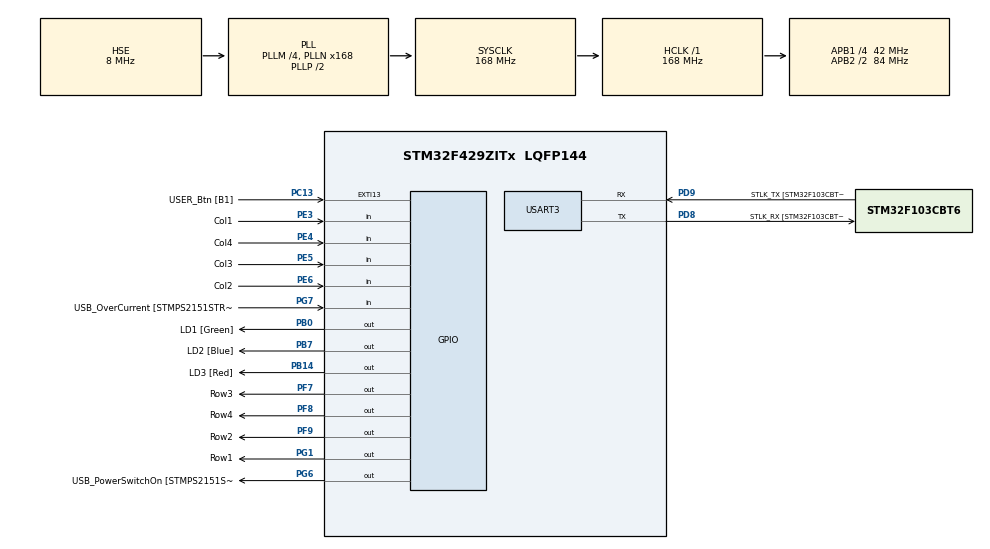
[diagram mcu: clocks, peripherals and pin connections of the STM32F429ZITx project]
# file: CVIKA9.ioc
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Mcu.Family=STM32F4
Mcu.Name=STM32F429ZITx
Mcu.Package=LQFP144
NVIC.PriorityGroup=NVIC_PRIORITYGROUP_4
NVIC.TIM3_IRQn=true\:0\:0\:false\:false\:true\:true\:true\:true
PA1.GPIO_Label=RMII_REF_CLK [LAN8742A-CZ-TR_REFCLK0]
PA1.Signal=ETH_REF_CLK
PA10.GPIO_Label=USB_ID
PA10.Signal=USB_OTG_FS_ID
PA11.GPIO_Label=USB_DM
PA11.Signal=USB_OTG_FS_DM
PA12.GPIO_Label=USB_DP
PA12.Signal=USB_OTG_FS_DP
PA13.GPIO_Label=TMS
PA13.Mode=Serial_Wire
PA13.Signal=SYS_JTMS-SWDIO
PA14.GPIO_Label=TCK
PA14.Mode=Serial_Wire
PA14.Signal=SYS_JTCK-SWCLK
PA2.GPIO_Label=RMII_MDIO [LAN8742A-CZ-TR_MDIO]
PA2.Signal=ETH_MDIO
PA7.GPIO_Label=RMII_CRS_DV [LAN8742A-CZ-TR_CRS_DV]
PA7.Signal=ETH_CRS_DV
PA8.GPIO_Label=USB_SOF [TP1]
PA8.Signal=USB_OTG_FS_SOF
PA9.GPIO_Label=USB_VBUS
PA9.Signal=USB_OTG_FS_VBUS
PB0.GPIO_Label=LD1 [Green]
PB0.Signal=GPIO_Output
PB13.GPIO_Label=RMII_TXD1 [LAN8742A-CZ-TR_TXD1]
PB13.Signal=ETH_TXD1
PB14.GPIO_Label=LD3 [Red]
PB14.Signal=GPIO_Output
PB7.GPIO_Label=LD2 [Blue]
PB7.Signal=GPIO_Output
PC1.GPIO_Label=RMII_MDC [LAN8742A-CZ-TR_MDC]
PC1.Signal=ETH_MDC
PC13.GPIO_Label=USER_Btn [B1]
PC13.Signal=GPXTI13
PC14/OSC32_IN.Mode=LSE-External-Oscillator
PC14/OSC32_IN.Signal=RCC_OSC32_IN
PC15/OSC32_OUT.Mode=LSE-External-Oscillator
PC15/OSC32_OUT.Signal=RCC_OSC32_OUT
PC4.GPIO_Label=RMII_RXD0 [LAN8742A-CZ-TR_RXD0]
PC4.Signal=ETH_RXD0
PC5.GPIO_Label=RMII_RXD1 [LAN8742A-CZ-TR_RXD1]
PC5.Signal=ETH_RXD1
PD8.GPIO_Label=STLK_RX [STM32F103CBT6_PA3]
PD8.Mode=Asynchronous
PD8.Signal=USART3_TX
PD9.GPIO_Label=STLK_TX [STM32F103CBT6_PA2]
PD9.Mode=Asynchronous
PD9.Signal=USART3_RX
PE3.GPIO_Label=Col1
PE3.GPIO_PuPd=GPIO_PULLUP
PE3.Signal=GPIO_Input
PE4.GPIO_Label=Col4
PE4.GPIO_PuPd=GPIO_PULLUP
PE4.Signal=GPIO_Input
PE5.GPIO_Label=Col3
PE5.GPIO_PuPd=GPIO_PULLUP
PE5.Signal=GPIO_Input
PE6.GPIO_Label=Col2
PE6.GPIO_PuPd=GPIO_PULLUP
PE6.Signal=GPIO_Input
PF7.GPIO_Label=Row3
PF7.GPIO_ModeDefaultOutputPP=GPIO_MODE_OUTPUT_OD
PF7.GPIO_PuPd=GPIO_NOPULL
PF7.Signal=GPIO_Output
PF8.GPIO_Label=Row4
PF8.GPIO_ModeDefaultOutputPP=GPIO_MODE_OUTPUT_OD
PF8.GPIO_PuPd=GPIO_NOPULL
PF8.Signal=GPIO_Output
PF9.GPIO_Label=Row2
PF9.GPIO_ModeDefaultOutputPP=GPIO_MODE_OUTPUT_OD
PF9.GPIO_PuPd=GPIO_NOPULL
PF9.Signal=GPIO_Output
PG1.GPIO_Label=Row1
PG1.GPIO_ModeDefaultOutputPP=GPIO_MODE_OUTPUT_OD
PG1.GPIO_PuPd=GPIO_NOPULL
PG1.Signal=GPIO_Output
PG11.GPIO_Label=RMII_TX_EN [LAN8742A-CZ-TR_TXEN]
PG11.Signal=ETH_TX_EN
PG13.GPIO_Label=RMII_TXD0 [LAN8742A-CZ-TR_TXD0]
PG13.Signal=ETH_TXD0
PG6.GPIO_Label=USB_PowerSwitchOn [STMPS2151STR_EN]
PG6.Signal=GPIO_Output
PG7.GPIO_Label=USB_OverCurrent [STMPS2151STR_FAULT]
PG7.Signal=GPIO_Input
PH0/OSC_IN.GPIO_Label=MCO [STM32F103CBT6_PA8]
PH0/OSC_IN.Mode=HSE-External-Clock-Source
PH0/OSC_IN.Signal=RCC_OSC_IN
PH1/OSC_OUT.Mode=HSE-External-Clock-Source
PH1/OSC_OUT.Signal=RCC_OSC_OUT
ProjectManager.HeapSize=0x200
ProjectManager.StackSize=0x400
ProjectManager.TargetToolchain=STM32CubeIDE
RCC.48MHZClocksFreq_Value=48000000
RCC.AHBFreq_Value=168000000
RCC.APB1CLKDivider=RCC_HCLK_DIV4
RCC.APB1Freq_Value=42000000
RCC.APB1TimFreq_Value=84000000
RCC.APB2CLKDivider=RCC_HCLK_DIV2
RCC.APB2Freq_Value=84000000
RCC.APB2TimCLKDivider=2
RCC.APB2TimFreq_Value=168000000
RCC.CortexFreq_Value=168000000
RCC.HCLKFreq_Value=168000000
RCC.HSE_VALUE=8000000
RCC.HSI_VALUE=16000000
RCC.PLLM=4
RCC.PLLMUL=RCC_PLL_MUL9
RCC.PLLN=168
RCC.PLLQ=7
RCC.PLLSourceVirtual=RCC_PLLSOURCE_HSE
RCC.PRESCALERUSB=RCC_USBCLKSOURCE_PLL_DIV1_5
RCC.SYSCLKFreq_VALUE=168000000
RCC.SYSCLKSource=RCC_SYSCLKSOURCE_PLLCLK
RCC.SYSCLKSourceVirtual=RCC_SYSCLKSOURCE_PLLCLK
RCC.USBFreq_Value=48000000
RCC.VCOOutputFreq_Value=336000000
TIM3.AutoReloadPreload=TIM_AUTORELOAD_PRELOAD_ENABLE
TIM3.Period=99
TIM3.Prescaler=8399
USART3.VirtualMode=VM_ASYNC
VP_TIM3_VS_ClockSourceINT.Mode=Internal
board=NUCLEO-F429ZI

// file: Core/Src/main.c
/* USER CODE BEGIN Header */
/**
  ******************************************************************************
  * @file           : main.c
  * @brief          : Main program body
  ******************************************************************************
  * @attention
  *
  * Copyright (c) 2024 STMicroelectronics.
  * All rights reserved.
  *
  * This software is licensed under terms that can be found in the LICENSE file
  * in the root directory of this software component.
  * If no LICENSE file comes with this software, it is provided AS-IS.
  *
  ******************************************************************************
  */
/* USER CODE END Header */
#include "main.h"

/* USER CODE BEGIN Includes */
#include <stdio.h>
/* USER CODE END Includes */

/* USER CODE BEGIN PTD */
#define PASSWORD_LENGTH 5
#define TIMEOUT_MS 5000
/* USER CODE END PTD */

TIM_HandleTypeDef htim3;

UART_HandleTypeDef huart3;

/* USER CODE BEGIN PV */
static volatile char key;
/* USER CODE END PV */

void SystemClock_Config(void);
static void MX_GPIO_Init(void);
static void MX_USART3_UART_Init(void);
static void MX_TIM3_Init(void);

/* USER CODE BEGIN 0 */
int __io_putchar(int ch)
{
ITM_SendChar(ch);
return 0;
}

void HAL_TIM_PeriodElapsedCallback(TIM_HandleTypeDef *htim)
{
	static uint8_t row = 0;
	static const char keyboard[4][4] = {
			{ '1', '2', '3', 'A' },
			{ '4', '5', '6', 'B' },
			{ '7', '8', '9', 'C' },
			{ '*', '0', '#', 'D' },
	};
	if (key == 0) {
		if (HAL_GPIO_ReadPin(Col1_GPIO_Port, Col1_Pin) == GPIO_PIN_RESET) {
			key = keyboard[row][0];
		}
		if (HAL_GPIO_ReadPin(Col2_GPIO_Port, Col2_Pin) == GPIO_PIN_RESET) {
			key = keyboard[row][1];
		}
		if (HAL_GPIO_ReadPin(Col3_GPIO_Port, Col3_Pin) == GPIO_PIN_RESET) {
			key = keyboard[row][2];
		}
		if (HAL_GPIO_ReadPin(Col4_GPIO_Port, Col4_Pin) == GPIO_PIN_RESET) {
			key = keyboard[row][3];
		}
	}
	HAL_GPIO_WritePin(Row1_GPIO_Port, Row1_Pin, GPIO_PIN_SET);
	HAL_GPIO_WritePin(Row2_GPIO_Port, Row2_Pin, GPIO_PIN_SET);
	HAL_GPIO_WritePin(Row3_GPIO_Port, Row3_Pin, GPIO_PIN_SET);
	HAL_GPIO_WritePin(Row4_GPIO_Port, Row4_Pin, GPIO_PIN_SET);
	switch (row) {
	case 0:
		row = 1;
		HAL_GPIO_WritePin(Row2_GPIO_Port, Row2_Pin, GPIO_PIN_RESET);
		break;
	case 1:
		row = 2;
		HAL_GPIO_WritePin(Row3_GPIO_Port, Row3_Pin, GPIO_PIN_RESET);
		break;
	case 2:
		row =3;
		HAL_GPIO_WritePin(Row4_GPIO_Port, Row4_Pin, GPIO_PIN_RESET);
		break;
	case 3:
		row =0;
		HAL_GPIO_WritePin(Row1_GPIO_Port, Row1_Pin, GPIO_PIN_RESET);
		break;
	}
}

/* USER CODE END 0 */

int main(void)
{

  /* MCU Configuration--------------------------------------------------------*/

  /* Reset of all peripherals, Initializes the Flash interface and the Systick. */
  HAL_Init();
  const char password[PASSWORD_LENGTH] = { '7', '9', '3', '2', '#' };
  uint32_t last_input_time = 0;
  uint8_t pw_i = 0;
  uint8_t count = 0;

  /* Configure the system clock */
  SystemClock_Config();

  /* Initialize all configured peripherals */
  MX_GPIO_Init();
  MX_USART3_UART_Init();
  MX_TIM3_Init();
  /* USER CODE BEGIN 2 */
  HAL_TIM_Base_Start_IT(&htim3);
  /* USER CODE END 2 */

  /* Infinite loop */
  /* USER CODE BEGIN WHILE */
  while (1)
  {
	  /*printf("Tick\n");
	  HAL_GPIO_TogglePin(LD1_GPIO_Port, LD1_Pin);
	  HAL_Delay(250);*/

	  uint32_t current_time = HAL_GetTick();
	  if ((current_time - last_input_time) > TIMEOUT_MS && pw_i >0) {

		  printf("Timeout!\n");
		  pw_i = 0;
	  }

	  if (key != 0 && (key == password[pw_i])) {
		  printf("Correct '%c'\n", key);
		  pw_i++;
		  count++;
		  HAL_Delay(500);
		  key = 0;
		  last_input_time = current_time;

		  if(pw_i==5 && count ==5){
			  printf("Correct password!\n");
			  HAL_GPIO_TogglePin(LD1_GPIO_Port, LD1_Pin);
			  HAL_Delay(500);
			  pw_i =0;
			  count=0;
		  }

	  }

	  else if(key != 0 && (key != password[pw_i])){
		  printf("Wrong '%c'\n", key);
		  last_input_time = current_time;
		  pw_i++;
		  HAL_Delay(500);
		  key = 0;

		  if(count <5){
			  HAL_Delay(500);
			  printf("Wrong password!\n");
			  HAL_Delay(500);
			  pw_i =0;
			  count=0;
		  }
	  }

    /* USER CODE END WHILE */

  }
}

void SystemClock_Config(void)
{
  RCC_OscInitTypeDef RCC_OscInitStruct = {0};
  RCC_ClkInitTypeDef RCC_ClkInitStruct = {0};

  /** Configure the main internal regulator output voltage
  */
  __HAL_RCC_PWR_CLK_ENABLE();
  __HAL_PWR_VOLTAGESCALING_CONFIG(PWR_REGULATOR_VOLTAGE_SCALE1);

  /** Initializes the RCC Oscillators according to the specified parameters
  * in the RCC_OscInitTypeDef structure.
  */
  RCC_OscInitStruct.OscillatorType = RCC_OSCILLATORTYPE_HSE;
  RCC_OscInitStruct.HSEState = RCC_HSE_BYPASS;
  RCC_OscInitStruct.PLL.PLLState = RCC_PLL_ON;
  RCC_OscInitStruct.PLL.PLLSource = RCC_PLLSOURCE_HSE;
  RCC_OscInitStruct.PLL.PLLM = 4;
  RCC_OscInitStruct.PLL.PLLN = 168;
  RCC_OscInitStruct.PLL.PLLP = RCC_PLLP_DIV2;
  RCC_OscInitStruct.PLL.PLLQ = 7;
  if (HAL_RCC_OscConfig(&RCC_OscInitStruct) != HAL_OK)
  {
    Error_Handler();
  }

  /** Initializes the CPU, AHB and APB buses clocks
  */
  RCC_ClkInitStruct.ClockType = RCC_CLOCKTYPE_HCLK|RCC_CLOCKTYPE_SYSCLK
                              |RCC_CLOCKTYPE_PCLK1|RCC_CLOCKTYPE_PCLK2;
  RCC_ClkInitStruct.SYSCLKSource = RCC_SYSCLKSOURCE_PLLCLK;
  RCC_ClkInitStruct.AHBCLKDivider = RCC_SYSCLK_DIV1;
  RCC_ClkInitStruct.APB1CLKDivider = RCC_HCLK_DIV4;
  RCC_ClkInitStruct.APB2CLKDivider = RCC_HCLK_DIV2;

  if (HAL_RCC_ClockConfig(&RCC_ClkInitStruct, FLASH_LATENCY_5) != HAL_OK)
  {
    Error_Handler();
  }
}

static void MX_TIM3_Init(void)
{

  TIM_ClockConfigTypeDef sClockSourceConfig = {0};
  TIM_MasterConfigTypeDef sMasterConfig = {0};

  htim3.Instance = TIM3;
  htim3.Init.Prescaler = 8399;
  htim3.Init.CounterMode = TIM_COUNTERMODE_UP;
  htim3.Init.Period = 99;
  htim3.Init.ClockDivision = TIM_CLOCKDIVISION_DIV1;
  htim3.Init.AutoReloadPreload = TIM_AUTORELOAD_PRELOAD_ENABLE;
  if (HAL_TIM_Base_Init(&htim3) != HAL_OK)
  {
    Error_Handler();
  }
  sClockSourceConfig.ClockSource = TIM_CLOCKSOURCE_INTERNAL;
  if (HAL_TIM_ConfigClockSource(&htim3, &sClockSourceConfig) != HAL_OK)
  {
    Error_Handler();
  }
  sMasterConfig.MasterOutputTrigger = TIM_TRGO_RESET;
  sMasterConfig.MasterSlaveMode = TIM_MASTERSLAVEMODE_DISABLE;
  if (HAL_TIMEx_MasterConfigSynchronization(&htim3, &sMasterConfig) != HAL_OK)
  {
    Error_Handler();
  }

}

static void MX_USART3_UART_Init(void)
{

  huart3.Instance = USART3;
  huart3.Init.BaudRate = 115200;
  huart3.Init.WordLength = UART_WORDLENGTH_8B;
  huart3.Init.StopBits = UART_STOPBITS_1;
  huart3.Init.Parity = UART_PARITY_NONE;
  huart3.Init.Mode = UART_MODE_TX_RX;
  huart3.Init.HwFlowCtl = UART_HWCONTROL_NONE;
  huart3.Init.OverSampling = UART_OVERSAMPLING_16;
  if (HAL_UART_Init(&huart3) != HAL_OK)
  {
    Error_Handler();
  }

}

static void MX_GPIO_Init(void)
{
  GPIO_InitTypeDef GPIO_InitStruct = {0};

  /* GPIO Ports Clock Enable */
  __HAL_RCC_GPIOE_CLK_ENABLE();
  __HAL_RCC_GPIOC_CLK_ENABLE();
  __HAL_RCC_GPIOF_CLK_ENABLE();
  __HAL_RCC_GPIOH_CLK_ENABLE();
  __HAL_RCC_GPIOA_CLK_ENABLE();
  __HAL_RCC_GPIOB_CLK_ENABLE();
  __HAL_RCC_GPIOG_CLK_ENABLE();
  __HAL_RCC_GPIOD_CLK_ENABLE();

  /*Configure GPIO pin Output Level */
  HAL_GPIO_WritePin(GPIOF, Row3_Pin|Row4_Pin|Row2_Pin, GPIO_PIN_RESET);

  /*Configure GPIO pin Output Level */
  HAL_GPIO_WritePin(GPIOB, LD1_Pin|LD3_Pin|LD2_Pin, GPIO_PIN_RESET);

  /*Configure GPIO pin Output Level */
  HAL_GPIO_WritePin(GPIOG, Row1_Pin|USB_PowerSwitchOn_Pin, GPIO_PIN_RESET);

  /*Configure GPIO pins : Col1_Pin Col4_Pin Col3_Pin Col2_Pin */
  GPIO_InitStruct.Pin = Col1_Pin|Col4_Pin|Col3_Pin|Col2_Pin;
  GPIO_InitStruct.Mode = GPIO_MODE_INPUT;
  GPIO_InitStruct.Pull = GPIO_PULLUP;
  HAL_GPIO_Init(GPIOE, &GPIO_InitStruct);

  /*Configure GPIO pin : USER_Btn_Pin */
  GPIO_InitStruct.Pin = USER_Btn_Pin;
  GPIO_InitStruct.Mode = GPIO_MODE_IT_RISING;
  GPIO_InitStruct.Pull = GPIO_NOPULL;
  HAL_GPIO_Init(USER_Btn_GPIO_Port, &GPIO_InitStruct);

  /*Configure GPIO pins : Row3_Pin Row4_Pin Row2_Pin */
  GPIO_InitStruct.Pin = Row3_Pin|Row4_Pin|Row2_Pin;
  GPIO_InitStruct.Mode = GPIO_MODE_OUTPUT_OD;
  GPIO_InitStruct.Pull = GPIO_NOPULL;
  GPIO_InitStruct.Speed = GPIO_SPEED_FREQ_LOW;
  HAL_GPIO_Init(GPIOF, &GPIO_InitStruct);

  /*Configure GPIO pins : RMII_MDC_Pin RMII_RXD0_Pin RMII_RXD1_Pin */
  GPIO_InitStruct.Pin = RMII_MDC_Pin|RMII_RXD0_Pin|RMII_RXD1_Pin;
  GPIO_InitStruct.Mode = GPIO_MODE_AF_PP;
  GPIO_InitStruct.Pull = GPIO_NOPULL;
  GPIO_InitStruct.Speed = GPIO_SPEED_FREQ_VERY_HIGH;
  GPIO_InitStruct.Alternate = GPIO_AF11_ETH;
  HAL_GPIO_Init(GPIOC, &GPIO_InitStruct);

  /*Configure GPIO pins : RMII_REF_CLK_Pin RMII_MDIO_Pin RMII_CRS_DV_Pin */
  GPIO_InitStruct.Pin = RMII_REF_CLK_Pin|RMII_MDIO_Pin|RMII_CRS_DV_Pin;
  GPIO_InitStruct.Mode = GPIO_MODE_AF_PP;
  GPIO_InitStruct.Pull = GPIO_NOPULL;
  GPIO_InitStruct.Speed = GPIO_SPEED_FREQ_VERY_HIGH;
  GPIO_InitStruct.Alternate = GPIO_AF11_ETH;
  HAL_GPIO_Init(GPIOA, &GPIO_InitStruct);

  /*Configure GPIO pins : LD1_Pin LD3_Pin LD2_Pin */
  GPIO_InitStruct.Pin = LD1_Pin|LD3_Pin|LD2_Pin;
  GPIO_InitStruct.Mode = GPIO_MODE_OUTPUT_PP;
  GPIO_InitStruct.Pull = GPIO_NOPULL;
  GPIO_InitStruct.Speed = GPIO_SPEED_FREQ_LOW;
  HAL_GPIO_Init(GPIOB, &GPIO_InitStruct);

  /*Configure GPIO pin : Row1_Pin */
  GPIO_InitStruct.Pin = Row1_Pin;
  GPIO_InitStruct.Mode = GPIO_MODE_OUTPUT_OD;
  GPIO_InitStruct.Pull = GPIO_NOPULL;
  GPIO_InitStruct.Speed = GPIO_SPEED_FREQ_LOW;
  HAL_GPIO_Init(Row1_GPIO_Port, &GPIO_InitStruct);

  /*Configure GPIO pin : RMII_TXD1_Pin */
  GPIO_InitStruct.Pin = RMII_TXD1_Pin;
  GPIO_InitStruct.Mode = GPIO_MODE_AF_PP;
  GPIO_InitStruct.Pull = GPIO_NOPULL;
  GPIO_InitStruct.Speed = GPIO_SPEED_FREQ_VERY_HIGH;
  GPIO_InitStruct.Alternate = GPIO_AF11_ETH;
  HAL_GPIO_Init(RMII_TXD1_GPIO_Port, &GPIO_InitStruct);

  /*Configure GPIO pin : USB_PowerSwitchOn_Pin */
  GPIO_InitStruct.Pin = USB_PowerSwitchOn_Pin;
  GPIO_InitStruct.Mode = GPIO_MODE_OUTPUT_PP;
  GPIO_InitStruct.Pull = GPIO_NOPULL;
  GPIO_InitStruct.Speed = GPIO_SPEED_FREQ_LOW;
  HAL_GPIO_Init(USB_PowerSwitchOn_GPIO_Port, &GPIO_InitStruct);

  /*Configure GPIO pin : USB_OverCurrent_Pin */
  GPIO_InitStruct.Pin = USB_OverCurrent_Pin;
  GPIO_InitStruct.Mode = GPIO_MODE_INPUT;
  GPIO_InitStruct.Pull = GPIO_NOPULL;
  HAL_GPIO_Init(USB_OverCurrent_GPIO_Port, &GPIO_InitStruct);

  /*Configure GPIO pins : USB_SOF_Pin USB_ID_Pin USB_DM_Pin USB_DP_Pin */
  GPIO_InitStruct.Pin = USB_SOF_Pin|USB_ID_Pin|USB_DM_Pin|USB_DP_Pin;
  GPIO_InitStruct.Mode = GPIO_MODE_AF_PP;
  GPIO_InitStruct.Pull = GPIO_NOPULL;
  GPIO_InitStruct.Speed = GPIO_SPEED_FREQ_VERY_HIGH;
  GPIO_InitStruct.Alternate = GPIO_AF10_OTG_FS;
  HAL_GPIO_Init(GPIOA, &GPIO_InitStruct);

  /*Configure GPIO pin : USB_VBUS_Pin */
  GPIO_InitStruct.Pin = USB_VBUS_Pin;
  GPIO_InitStruct.Mode = GPIO_MODE_INPUT;
  GPIO_InitStruct.Pull = GPIO_NOPULL;
  HAL_GPIO_Init(USB_VBUS_GPIO_Port, &GPIO_InitStruct);

  /*Configure GPIO pins : RMII_TX_EN_Pin RMII_TXD0_Pin */
  GPIO_InitStruct.Pin = RMII_TX_EN_Pin|RMII_TXD0_Pin;
  GPIO_InitStruct.Mode = GPIO_MODE_AF_PP;
  GPIO_InitStruct.Pull = GPIO_NOPULL;
  GPIO_InitStruct.Speed = GPIO_SPEED_FREQ_VERY_HIGH;
  GPIO_InitStruct.Alternate = GPIO_AF11_ETH;
  HAL_GPIO_Init(GPIOG, &GPIO_InitStruct);

}

void Error_Handler(void)
{
  __disable_irq();
  while (1)
  {
  }
}
